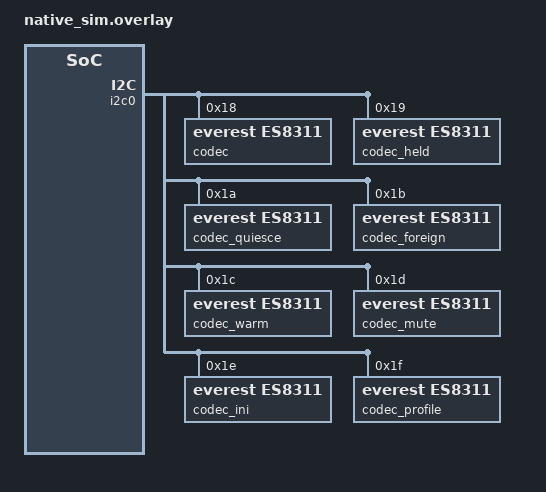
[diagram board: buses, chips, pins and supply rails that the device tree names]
/*
 * Copyright (c) 2026 Hsiu-Chi Tsai
 * SPDX-License-Identifier: Apache-2.0
 */

/*
 * Seven emulated parts on one bus: one boot-initialised (codec@18) and six with
 * zephyr,deferred-init, so each test that watches init() run gets a part it can drive into a
 * chosen pre-probe state and that has never been initialised.
 *
 * A real ES8311 answers at 0x18 or 0x19 and NOWHERE ELSE: the CE pin picks between the two, and
 * the binding says so. Two legal addresses cannot name seven parts, so five sit at synthetic
 * addresses (0x1a-0x1e). They are emulator SLOTS, not a claim about a board, and are on the same
 * footing as the arbitrary addresses every codec gets in
 * tests/drivers/build_all/audio/i2c_devices.overlay.
 *
 * Splitting them across emulated buses so each could sit at 0x18 or 0x19 does NOT work, and the
 * reason is worth writing down: emul_init_for_bus() resolves each child with
 * emul_get_binding(elp->dev->name), and a Zephyr device's name is DT_NODE_FULL_NAME -- the
 * node's own name, not its path. Two buses each carrying an "es8311@18" therefore produce two
 * devices with the SAME name, every bus looks up and re-registers the FIRST emulator of that
 * name, and the one struct i2c_emul gets appended to several different slists. The lists corrupt
 * each other, and lookups start missing parts that the boot log says it registered.
 */
&i2c0 {
	status = "okay";

	codec: es8311@18 {
		compatible = "everest,es8311";
		reg = <0x18>;
		status = "okay";
	};

	/*
	 * Every test that watches init() run gets an instance that has never been initialised,
	 * so it can put the emulated part into a state a previous firmware can leave it in
	 * BEFORE the driver ever probes it. device_init() returns -EALREADY on an
	 * already-initialised device, so the boot-time instance above cannot serve for this --
	 * and reaching into codec->state->initialized to fake a re-probe is worse: that is
	 * Zephyr's internal device state, it is not a test contract, and a test that writes it
	 * is one refactor away from testing nothing.
	 */

	/* A part held by INI_REG: its register file pinned at the defaults, every read 0x00. */
	codec_held: es8311@19 {
		compatible = "everest,es8311";
		reg = <0x19>;
		status = "okay";
		zephyr,deferred-init;
	};

	/* A part on a bus that fails one of init()'s safety writes. */
	codec_quiesce: es8311@1a {
		compatible = "everest,es8311";
		reg = <0x1a>;
		status = "okay";
		zephyr,deferred-init;
	};

	/* A part that is not an ES8311, and says so twice. */
	codec_foreign: es8311@1b {
		compatible = "everest,es8311";
		reg = <0x1b>;
		status = "okay";
		zephyr,deferred-init;
	};

	/* A part warm-rebooted out of a capture route: PGA powered, MIC1 still on the mux. */
	codec_warm: es8311@1c {
		compatible = "everest,es8311";
		reg = <0x1c>;
		status = "okay";
		zephyr,deferred-init;
	};

	/*
	 * A part on a bus whose READS fail while its writes still land. init() must refuse it
	 * and must write NOTHING to it -- see the identity-first note in es8311_init().
	 */
	codec_mute: es8311@1d {
		compatible = "everest,es8311";
		reg = <0x1d>;
		status = "okay";
		zephyr,deferred-init;
	};

	/*
	 * A part whose 0xFA write fails. Once the chip id has read back, INI_REG is PROVEN
	 * clear, so that write is housekeeping -- and housekeeping does not get to veto the
	 * safety quiesce.
	 */
	codec_ini: es8311@1e {
		compatible = "everest,es8311";
		reg = <0x1e>;
		status = "okay";
		zephyr,deferred-init;
	};

	/*
	 * A part with every board-policy devicetree property set to its NON-default value, so a
	 * test can prove each reaches the register it names: right slot, 0 dB PGA, line-out.
	 */
	codec_profile: es8311@1f {
		compatible = "everest,es8311";
		reg = <0x1f>;
		status = "okay";
		everest,mono-dac-source = "right";
		everest,mic-pga-gain-db = <0>;
		everest,output-mode = "lineout";
	};
};
